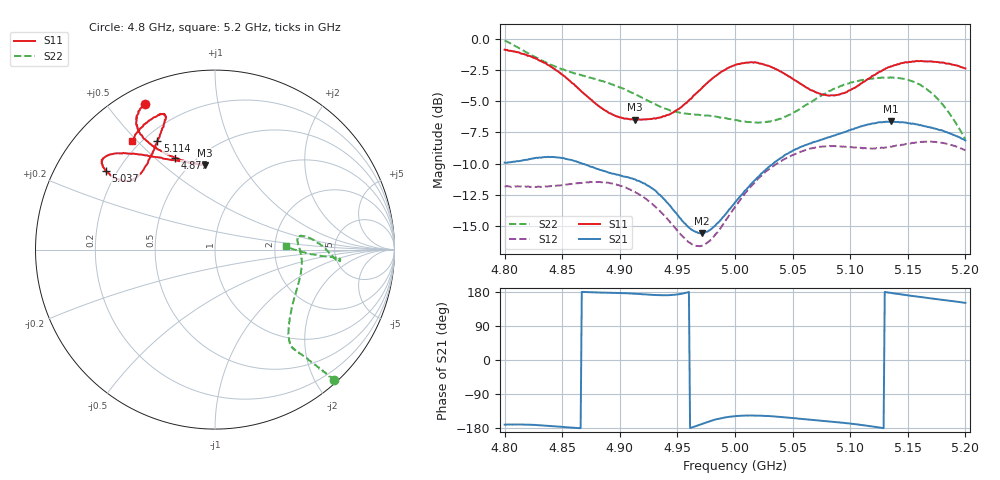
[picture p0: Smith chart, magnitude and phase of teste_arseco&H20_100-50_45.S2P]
! Network Analyzer HP8722D
! Hewlett-Packard
! Data name: Linha & Wilkinson
! Saver's name: Rodrigo Anjos
! Comments: Teste da utilização de aquisição
! continua pelo VNA HP8722D
! Time and date: 6/5/2025 12:56
!  Frequency  S11  S21  S12  S22
# HZ  S  MA R 50
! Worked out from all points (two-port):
!   401 points, 4.8 GHz to 5.2 GHz, reference 50 ohm
!   highest |S21| = -6.62 dB at 5.135 GHz (marker M1); lowest = -15.6 dB at 4.971 GHz (marker M2)
!   |S21| within 3 dB of the highest: 4.823 GHz to 4.853 GHz (30.5 MHz wide, 0.63 % of centre); 5.039 GHz to end of sweep
!   lowest |S11| = -6.5 dB at 4.913 GHz (marker M3), VSWR 2.80, Z = 29 + j35.2 ohm
!   |S11| at or under -10 dB: nowhere
!   |S22| runs from -8.0 to -0.1 dB; largest |S21 - S12| = 0.83
!   S11 on the Smith chart (normalised r, x): 4.8 GHz: 0.07, +0.63; 4.877 GHz: 0.39, +0.58; 5.037 GHz: 0.16, +0.32; 5.114 GHz: 0.25, +0.57; 5.2 GHz: 0.17, +0.48
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4.8e9  0.9034 115.7  0.3194 -170.5  0.2565 -85.8  0.9836 -47.4
4.819e9  0.8625 120.5  0.328 -170.5  0.2556 -81.7  0.8818 -48.8
4.835e9  0.7997 122.6  0.3363 -173.0  0.2564 -76.4  0.8069 -49.8
4.848e9  0.7308 122.5  0.334 -176.0  0.2588 -72.1  0.7605 -50.4
4.867e9  0.6132 117.9  0.3171 179.8  0.2647 -67.2  0.7141 -51.4
4.877e9  0.5594 113.5  0.3057 178.6  0.2673 -66.1  0.6927 -51.7
4.897e9  0.4891 102.9  0.2861 176.9  0.2614 -66.2  0.6474 -50.5
4.913e9  0.4739 96.7  0.274 174.9  0.2445 -67.7  0.6012 -46.8
4.934e9  0.483 99.2  0.2384 171.2  0.2067 -69.3  0.5371 -37.4
4.959e9  0.5603 116.6  0.1775 178.7  0.1548 -58.7  0.5002 -21.0
4.971e9  0.6332 124.8  0.1666 -169.4  0.1484 -44.9  0.4936 -13.8
5e9  0.7853 137.4  0.2214 -148.4  0.2124 -21.3  0.4731 -0.4
5.018e9  0.8038 141.8  0.2733 -146.5  0.2694 -18.1  0.4623 5.8
5.037e9  0.7493 144.2  0.3265 -149.5  0.3174 -18.2  0.4746 9.0
5.067e9  0.6209 141.9  0.3841 -158.1  0.3648 -20.4  0.5614 4.7
5.088e9  0.5947 133.0  0.413 -164.1  0.371 -23.6  0.6361 -1.6
5.114e9  0.6835 118.1  0.4518 -173.2  0.3642 -26.3  0.687 -5.2
5.134e9  0.7702 111.3  0.465 177.8  0.3689 -28.6  0.6982 -4.7
5.135e9  0.7738 111.2  0.4666 177.3  0.3698 -28.6  0.7001 -4.6
5.16e9  0.8127 112.4  0.4507 166.6  0.3853 -34.6  0.6564 -3.7
5.178e9  0.8022 118.2  0.4307 159.7  0.3844 -40.3  0.5606 -2.9
5.2e9  0.7603 127.4  0.3916 150.8  0.3578 -46.2  0.3962 2.7
